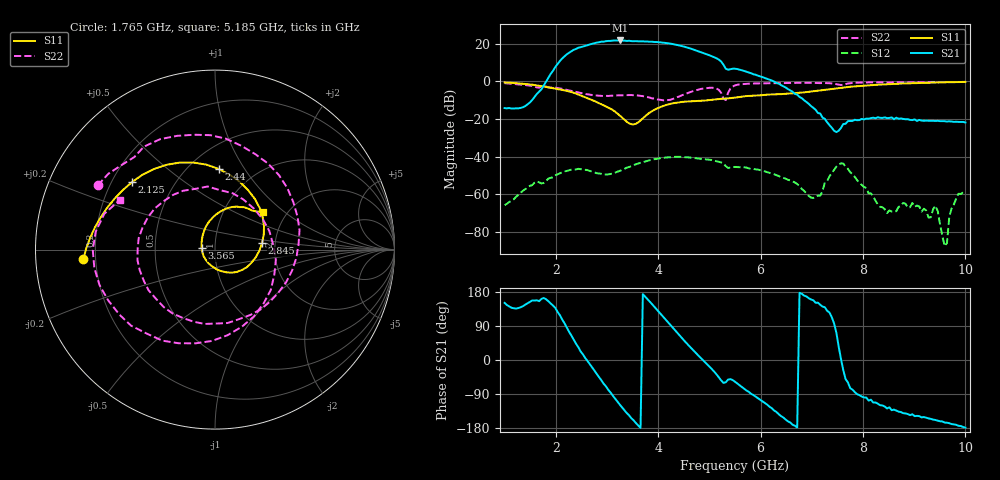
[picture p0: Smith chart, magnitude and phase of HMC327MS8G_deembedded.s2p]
!Hittite Microwave Corporation
!12 Elizabeth Drive
!Chelmsford, MA 01824
!Tel: 978-250-3343
!Fax: 978-250-3373
!Device: HMC327MS8G, 3-4 GHz GaAs InGap HBT MMIC Power Amplifier in 8-lead Grounded Base surface Mount Plastic Package
!Misc: Input reference is the input pin of the device, output reference is the last component on output line, Vs=5V, Vpd=5V, Room
# MHZ S MA R 50
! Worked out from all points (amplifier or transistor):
!   201 points, 1 GHz to 10 GHz, reference 50 ohm
!   highest |S21| = 21.8 dB at 3.25 GHz (marker M1)
!   |S21| within 3 dB of that: 2.556 GHz to 4.467 GHz (1.911 GHz wide, 54.4 % of centre)
!   unconditionally stable (mu >= 1): start of sweep to end of sweep
!   at 2.485 GHz: K = 8.03, MAG = 20.4 dB, |S12| = -46.7 dB
!   at 5.5 GHz: K = 13.87, MAG = 11.7 dB, |S12| = -45.5 dB
!   at 10 GHz: K = 14.34, MAG = 3.9 dB, |S12| = -58.7 dB
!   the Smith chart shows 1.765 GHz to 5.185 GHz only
!   S11 on the Smith chart (normalised r, x): 1.765 GHz: 0.15, -0.04; 2.125 GHz: 0.28, +0.33; 2.44 GHz: 0.69, +0.77; 2.845 GHz: 1.70, +0.13; 3.565 GHz: 0.86, +0.02; 5.185 GHz: 1.52, +0.73
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1000  0.942 -99.9  0.196 150.7  0.0005101 174.8  0.901 -117.6
1765  0.735 -175.8  0.78 163.6  0.001992 120.6  0.745 151.3
2125  0.596 140.9  4.105 106.8  0.003828 79.5  0.638 92.2
2305  0.523 112.0  6.363 64.4  0.004529 57.8  0.563 58.2
2440  0.45 87.4  7.925 33.7  0.004742 41.0  0.51 31.1
2530  0.401 69.6  8.516 14.9  0.004632 30.3  0.483 12.8
2710  0.321 34.0  10.04 -19.6  0.003993 14.1  0.436 -24.6
2845  0.264 7.6  11.04 -45.3  0.003573 11.1  0.419 -52.8
3025  0.203 -28.8  11.99 -78.8  0.003379 11.2  0.412 -88.8
3250  0.124 -74.7  12.35 -117.8  0.004195 12.8  0.429 -131.8
3565  0.075 173.1  11.84 -166.4  0.006264 -3.1  0.43 171.4
3790  0.134 113.3  11.57 160.6  0.007701 -22.2  0.384 127.5
4015  0.201 86.2  11.03 126.7  0.008969 -42.8  0.329 72.5
4240  0.255 68.4  10.16 92.0  0.009626 -65.1  0.326 4.1
4555  0.293 51.2  8.078 44.1  0.009641 -98.1  0.482 -81.7
4825  0.306 44.9  6.093 6.5  0.008764 -121.9  0.631 -137.8
5185  0.341 38.5  3.816 -45.8  0.007286 -155.5  0.597 152.1
5500  0.373 31.2  2.186 -57.4  0.00533 -164.9  0.787 153.9
6175  0.45 -2.2  1.116 -123.4  0.003707 150.3  0.898 53.1
7030  0.551 -72.5  0.199 157.5  0.000795 145.4  0.916 -67.6
8515  0.848 -166.3  0.107 -124.9  0.0003738 57.5  0.952 153.0
10000  0.972 139.0  0.081 -178.3  0.001157 -164.4  0.977 56.3
